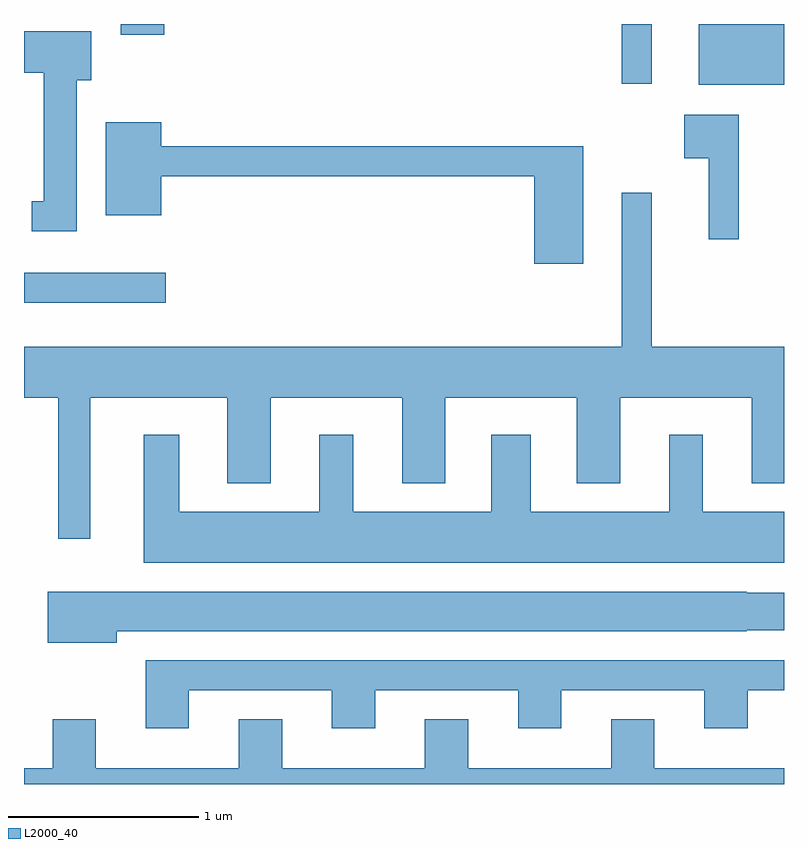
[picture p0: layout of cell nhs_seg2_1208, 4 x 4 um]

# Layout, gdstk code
import gdstk
lib = gdstk.Library(unit=1e-6, precision=1e-09)
def R(c, l, rs):  # rectangles x0, y0, x1, y1
    for r in rs: c.add(gdstk.rectangle(r[:2], r[2:], *l))
def P(c, l, *ps):  # polygons
    for p in ps: c.add(gdstk.Polygon(p, *l))
L2000_40 = (2000, 40)

nhs_seg2_1208 = lib.new_cell('nhs_seg2_1208')
R(nhs_seg2_1208, L2000_40, [(219.611,1084.336,220.358,1084.494), (223.161,1085.481,223.611,1085.802), (222.756,1085.488,222.914,1085.802), (220.121,1085.746,220.349,1085.802)])
P(nhs_seg2_1208, L2000_40, [(219.889,1085.506),(219.964,1085.506),(219.964,1085.764),(219.611,1085.764),(219.611,1085.546),(219.716,1085.546),(219.716,1084.869),(219.653,1084.869),(219.653,1084.711),(219.889,1084.711)],
  [(223.374,1085.324),(223.086,1085.324),(223.086,1085.096),(223.216,1085.096),(223.216,1084.668),(223.374,1084.668)],
  [(222.554,1085.159),(220.334,1085.159),(220.334,1085.284),(220.041,1085.284),(220.041,1084.796),(220.334,1084.796),(220.334,1085.001),(222.296,1085.001),(222.296,1084.541),(222.554,1084.541)],
  [(219.959,1083.836),(220.681,1083.836),(220.681,1083.386),(220.909,1083.386),(220.909,1083.836),(221.601,1083.836),(221.601,1083.386),(221.829,1083.386),(221.829,1083.836),(222.521,1083.836),(222.521,1083.386),(222.749,1083.386),(222.749,1083.836),(223.441,1083.836),(223.441,1083.386),(223.611,1083.386),(223.611,1084.104),(222.914,1084.104),(222.914,1084.913),(222.756,1084.913),(222.756,1084.104),(219.611,1084.104),(219.611,1083.836),(219.791,1083.836),(219.791,1083.093),(219.959,1083.093)],
  [(223.611,1083.234),(223.184,1083.234),(223.184,1083.639),(223.006,1083.639),(223.006,1083.234),(222.279,1083.234),(222.279,1083.639),(222.071,1083.639),(222.071,1083.234),(221.344,1083.234),(221.344,1083.639),(221.166,1083.639),(221.166,1083.234),(220.429,1083.234),(220.429,1083.639),(220.241,1083.639),(220.241,1082.966),(223.611,1082.966)],
  [(220.099,1082.606),(223.415,1082.606),(223.415,1082.611),(223.611,1082.611),(223.611,1082.809),(223.415,1082.809),(223.415,1082.814),(219.736,1082.814),(219.736,1082.546),(220.099,1082.546)],
  [(220.479,1082.296),(221.231,1082.296),(221.231,1082.096),(221.459,1082.096),(221.459,1082.296),(222.211,1082.296),(222.211,1082.096),(222.439,1082.096),(222.439,1082.296),(223.191,1082.296),(223.191,1082.096),(223.419,1082.096),(223.419,1082.296),(223.611,1082.296),(223.611,1082.454),(220.251,1082.454),(220.251,1082.096),(220.479,1082.096)],
  [(223.611,1081.884),(222.929,1081.884),(222.929,1082.144),(222.701,1082.144),(222.701,1081.884),(221.949,1081.884),(221.949,1082.144),(221.721,1082.144),(221.721,1081.884),(220.969,1081.884),(220.969,1082.144),(220.741,1082.144),(220.741,1081.884),(219.989,1081.884),(219.989,1082.144),(219.761,1082.144),(219.761,1081.884),(219.611,1081.884),(219.611,1081.802),(223.611,1081.802)])

lib.write_gds('nhs_seg2_1208.gds')
